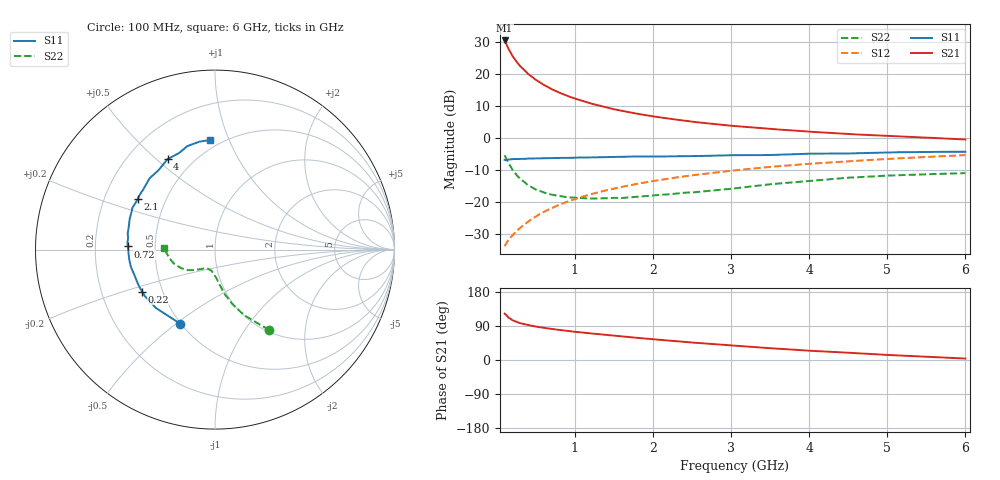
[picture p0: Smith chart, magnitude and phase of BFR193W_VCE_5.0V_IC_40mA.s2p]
! Infineon Technologies  Discrete & RF Semiconductors
! BFR193W
! VCE =  5.0 V,  IC =  40 mA
! Common Emitter S-Parameters:  Nov 2015
# GHz  S  MA  R  50
!  f  S11  S21  S12  S22
! GHz  MAG  ANG  MAG  ANG  MAG  ANG  MAG  ANG
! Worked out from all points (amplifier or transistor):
!   192 points, 100 MHz to 6 GHz, reference 50 ohm
!   highest |S21| = 30.5 dB at 100 MHz (marker M1)
!   |S21| within 3 dB of that: start of sweep to 158.2 MHz
!   unconditionally stable (mu >= 1): 595 MHz to 2.559 GHz
!   at 440 MHz: K = 0.96, MSG = 22.4 dB, |S12| = -25.4 dB
!   at 1.7 GHz: K = 1.02, MAG = 10.5 dB, |S12| = -14.8 dB
!   at 6 GHz: K = 0.92, MSG = 2.4 dB, |S12| = -5.3 dB
!   S11 on the Smith chart (normalised r, x): 100 MHz: 0.50, -0.52; 220 MHz: 0.38, -0.23; 720 MHz: 0.35, +0.02; 2.1 GHz: 0.35, +0.27; 4 GHz: 0.36, +0.54; 6 GHz: 0.44, +0.86
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0.1  0.4565 -115.0  33.31 122.5  0.0205 59.7  0.5402 -56.0
0.15  0.4627 -135.4  24.48 111.7  0.0256 60.6  0.4021 -65.9
0.2  0.4691 -146.8  19.14 105.0  0.03 61.9  0.3208 -72.1
0.22  0.4685 -150.0  17.72 103.4  0.032 62.8  0.2984 -73.7
0.24  0.4694 -153.1  16.31 101.6  0.0341 63.5  0.2763 -75.6
0.26  0.4699 -155.8  15.13 99.9  0.036 64.3  0.2585 -77.2
0.3  0.4694 -160.0  13.2 97.0  0.0396 65.9  0.2309 -79.4
0.4  0.4782 -168.3  10.02 92.0  0.0493 68.3  0.1836 -84.1
0.5  0.4812 -173.6  8.078 88.1  0.0597 70.1  0.1567 -87.7
0.6  0.4821 -177.9  6.769 84.9  0.0701 70.7  0.1411 -91.8
0.72  0.4858 177.9  5.663 81.4  0.0823 71.3  0.1295 -95.0
0.9  0.4882 172.4  4.548 76.8  0.1012 71.4  0.119 -99.7
1.1  0.4955 167.1  3.792 72.5  0.1217 70.7  0.1152 -104.9
1.2  0.4975 164.5  3.463 70.2  0.132 70.4  0.1135 -107.8
1.5  0.5069 158.7  2.812 64.1  0.1623 68.8  0.1163 -114.4
2.08  0.5145 147.1  2.105 53.4  0.2206 64.8  0.1289 -123.7
2.1  0.5149 146.8  2.088 53.0  0.2225 64.6  0.1294 -123.9
3.1  0.5391 131.2  1.52 37.1  0.3172 56.3  0.1667 -136.8
4  0.5694 117.6  1.257 24.5  0.3958 48.5  0.2139 -150.8
4.1  0.5696 116.2  1.235 23.5  0.403 47.6  0.2186 -152.9
5.1  0.5982 103.6  1.069 12.5  0.4784 39.3  0.2613 -170.8
6  0.611 92.5  0.949 3.8  0.5406 31.8  0.2832 178.7
